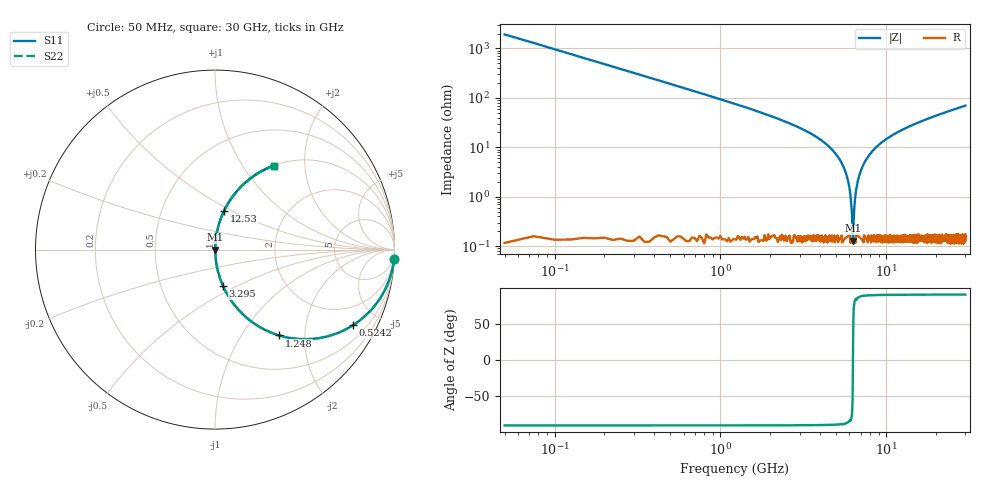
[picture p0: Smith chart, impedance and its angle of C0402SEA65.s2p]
!	AVX Thin Film Operation 	Date: April 2014
!	Description: Accu-P® Series, Thin Film  SMD RF Capacitor
!	Part Number: 04021JA65ZBSTR
# MHZ S MA R 50
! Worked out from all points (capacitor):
!   1201 points, 50 MHz to 30 GHz, reference 50 ohm
!   read as one part in series: C = 1.65 pF near 199.8 MHz
!   lowest |Z| = 129 mohm at 6.29 GHz (marker M1)
!   series resonance near 6.298 GHz, so ESL is about 390 pH
!   S11 on the Smith chart (normalised r, x): 50 MHz: 1, -39; 524.2 MHz: 1.00, -3.65; 1.248 GHz: 1.00, -1.49; 3.295 GHz: 1.00, -0.43; 12.53 GHz: 1.00, +0.46; 30 GHz: 1.00, +1.39
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50  0.999 -3.0  0.052 87.0  0.052 87.0  0.999 -3.0
274.625  0.962 -15.9  0.274 74.1  0.274 74.1  0.962 -15.9
524.208  0.877 -28.7  0.48 61.3  0.48 61.3  0.877 -28.7
1248  0.596 -53.3  0.802 36.6  0.802 36.6  0.596 -53.3
2046.667  0.388 -67.0  0.92 22.8  0.92 22.8  0.388 -67.0
3294.583  0.208 -77.6  0.977 12.0  0.977 12.0  0.208 -77.6
5041.667  0.068 -84.9  0.996 3.9  0.996 3.9  0.068 -84.9
5815.375  0.024 -85.3  0.998 1.4  0.998 1.4  0.024 -85.3
6015.042  0.014 -83.4  0.998 0.8  0.998 0.8  0.014 -83.4
6189.75  0.005506 -74.7  0.999 0.3  0.999 0.3  0.005506 -74.7
6289.583  0.00149 -16.5  0.999 0.0  0.999 0.0  0.00149 -16.5
6389.417  0.00462 71.7  0.999 -0.3  0.999 -0.3  0.00462 71.7
6539.167  0.012 82.3  0.999 -0.7  0.999 -0.7  0.012 82.3
6688.917  0.018 84.5  0.998 -1.1  0.998 -1.1  0.018 84.5
7287.917  0.045 85.6  0.998 -2.6  0.998 -2.6  0.045 85.6
8336.167  0.087 84.1  0.995 -5.0  0.995 -5.0  0.087 84.1
10058.29  0.147 81.0  0.988 -8.4  0.988 -8.4  0.147 81.0
12529.17  0.222 76.8  0.974 -12.8  0.974 -12.8  0.222 76.8
15025  0.288 73.0  0.956 -16.7  0.956 -16.7  0.288 73.0
20016.67  0.401 66.2  0.915 -23.6  0.915 -23.6  0.401 66.2
25033.29  0.495 60.2  0.868 -29.7  0.868 -29.7  0.495 60.2
30000  0.571 55.0  0.819 -34.9  0.819 -34.9  0.571 55.0
